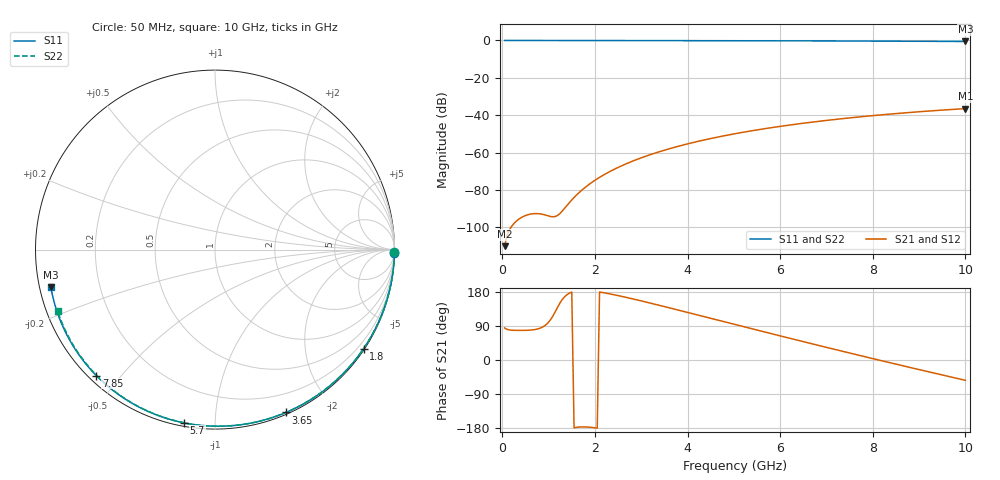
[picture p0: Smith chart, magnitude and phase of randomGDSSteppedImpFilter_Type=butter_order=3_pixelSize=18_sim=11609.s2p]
! freq	dB(S11)	phase(S11)	dB(S12)	phase(S12)
!  dB(S21)	phase(S21)	dB(S22)	phase(S22)
!S-par simulation data
#  GHz  S  DB  R 50
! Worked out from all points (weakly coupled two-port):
!   200 points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, 50 MHz to 10 GHz, reference 50 ohm
!   highest |S21| = -36.47 dB at 10 GHz (marker M1); lowest = -110.1 dB at 50 MHz (marker M2)
!   lowest |S11| = -0.6 dB at 10 GHz (marker M3), VSWR 31.38, Z = 1.61 - j5.67 ohm
!   |S11| at or under -10 dB: nowhere
!   |S22| runs from -0.5 to 0.0 dB; largest |S21 - S12| = 0
!   S11 on the Smith chart (normalised r, x): 50 MHz: open; 1.8 GHz: 0.03, -3.30; 3.65 GHz: 0.02, -1.53; 5.7 GHz: 0.02, -0.84; 7.85 GHz: 0.02, -0.43; 10 GHz: 0.03, -0.11
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0.05  -0.00 -1.0  -110.11 84.6  -110.11 84.6  -0.00 -0.9
0.45  -0.01 -8.6  -94.27 78.2  -94.27 78.2  -0.01 -8.3
0.85  -0.02 -16.1  -92.97 85.7  -92.97 85.7  -0.02 -15.6
1.7  -0.04 -31.9  -80.50 -176.6  -80.50 -176.6  -0.04 -30.8
1.75  -0.04 -32.8  -79.44 -176.5  -79.44 -176.5  -0.04 -31.7
1.8  -0.04 -33.7  -78.43 -176.6  -78.43 -176.6  -0.04 -32.6
2.1  -0.05 -39.2  -73.27 179.3  -73.27 179.3  -0.05 -37.8
2.3  -0.05 -42.8  -70.45 175.0  -70.45 175.0  -0.05 -41.3
2.5  -0.06 -46.4  -67.97 170.0  -67.97 170.0  -0.06 -44.8
2.9  -0.07 -53.5  -63.76 158.9  -63.76 158.9  -0.07 -51.6
3.4  -0.08 -62.2  -59.49 144.0  -59.49 144.0  -0.08 -60.0
3.65  -0.09 -66.5  -57.66 136.4  -57.66 136.4  -0.09 -64.2
4.3  -0.11 -77.4  -53.59 116.3  -53.59 116.3  -0.11 -74.7
5.05  -0.14 -89.7  -49.80 92.9  -49.80 92.9  -0.13 -86.5
5.7  -0.17 -100.1  -47.09 72.9  -47.09 72.9  -0.16 -96.4
6.2  -0.20 -107.9  -45.29 57.5  -45.29 57.5  -0.19 -103.8
6.7  -0.23 -115.7  -43.68 42.4  -43.68 42.4  -0.22 -111.2
7.25  -0.27 -124.1  -42.10 25.8  -42.10 25.8  -0.25 -119.1
7.85  -0.31 -133.3  -40.59 8.1  -40.59 8.1  -0.30 -127.7
8.35  -0.36 -140.9  -39.46 -6.6  -39.46 -6.6  -0.34 -134.9
9.2  -0.45 -154.2  -37.79 -31.0  -37.79 -31.0  -0.43 -147.1
10  -0.55 -167.0  -36.47 -53.6  -36.47 -53.6  -0.53 -158.8
